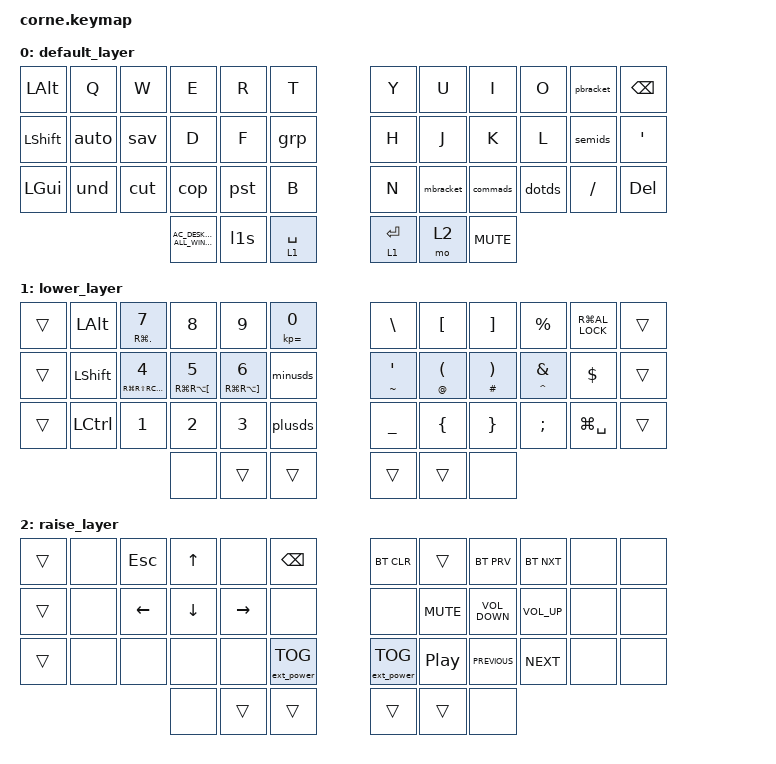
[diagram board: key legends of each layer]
/*
 * Copyright (c) 2020 The ZMK Contributors
 *
 * SPDX-License-Identifier: MIT
 */

#include <behaviors.dtsi>
#include <dt-bindings/zmk/bt.h>
#include <dt-bindings/zmk/ext_power.h>
#include <dt-bindings/zmk/keys.h>

/ {

    behaviors {
        grp: tap_dance_0 {
            compatible = "zmk,behavior-tap-dance";
            #binding-cells = <0>;
            tapping-term-ms = <200>;
            bindings = <&kp G>, <&kp LG(G)>, <&kp LG(LS(G))>;
        };
        sav: tap_dance_1 {
            compatible = "zmk,behavior-tap-dance";
            #binding-cells = <0>;
            tapping-term-ms = <200>;
            bindings = <&kp S>, <&kp LG(S)>;
        };
        auto: tap_dance_mod_tap_0 {
            compatible = "zmk,behavior-tap-dance";
            #binding-cells = <0>;
            tapping-term-ms = <200>;
            bindings = <&mt LSHFT A>, <&kp LS(A)>;
        };
        und: tap_dance_mod_tap_1 {
            compatible = "zmk,behavior-tap-dance";
            #binding-cells = <0>;
            tapping-term-ms = <200>;
            bindings = <&mt LCTRL Z>, <&kp LG(Z)>;
        };
        cut: tap_dance_mod_tap_2 {
            compatible = "zmk,behavior-tap-dance";
            #binding-cells = <0>;
            tapping-term-ms = <200>;
            bindings = <&kp X>, <&kp LG(X)>;
        };
        cop: tap_dance_2 {
            compatible = "zmk,behavior-tap-dance";
            #binding-cells = <0>;
            tapping-term-ms = <200>;
            bindings = <&kp C>, <&kp LG(C)>;
        };
        pst: tap_dance_3 {
            compatible = "zmk,behavior-tap-dance";
            #binding-cells = <0>;
            tapping-term-ms = <200>;
            bindings = <&kp V>, <&kp LG(V)>;
        };
        l1s: tap_dance_mod_tap_3 {
            compatible = "zmk,behavior-tap-dance";
            #binding-cells = <0>;
            tapping-term-ms = <200>;
            bindings = <&mo 2>, <&kp RET>;
        };
        pbracket: tap_dance_4 {
            compatible = "zmk,behavior-tap-dance";
            #binding-cells = <0>;
            tapping-term-ms = <200>;
            bindings = <&kp P>, <&kp LEFT_BRACKET>;
        };
        mbracket: tap_dance_5 {
            compatible = "zmk,behavior-tap-dance";
            #binding-cells = <0>;
            tapping-term-ms = <200>;
            bindings = <&kp M>, <&kp RIGHT_BRACKET>;
        };
        commads: tap_dance_mod_tap_4 {
            compatible = "zmk,behavior-tap-dance";
            #binding-cells = <0>;
            tapping-term-ms = <200>;
            bindings = <&mt QUESTION COMMA>, <&kp KP_COMMA>;
        };
        dotds: tap_dance_mod_tap_5 {
            compatible = "zmk,behavior-tap-dance";
            #binding-cells = <0>;
            tapping-term-ms = <200>;
            bindings = <&mt EXCL DOT>, <&kp KP_DOT>;
        };
        minusds: tap_dance_6 {
            compatible = "zmk,behavior-tap-dance";
            #binding-cells = <0>;
            tapping-term-ms = <200>;
            bindings = <&kp KP_MINUS>, <&kp KP_SLASH>;
        };
        plusds: tap_dance_7 {
            compatible = "zmk,behavior-tap-dance";
            #binding-cells = <0>;
            tapping-term-ms = <200>;
            bindings = <&kp KP_PLUS>, <&kp KP_MULTIPLY>;
        };
        semids: tap_dance_8 {
            compatible = "zmk,behavior-tap-dance";
            #binding-cells = <0>;
            tapping-term-ms = <200>;
            bindings = <&kp SEMI>, <&kp SQT>;
        };
    };
    keymap {
        compatible = "zmk,keymap";

        default_layer {

            bindings = <
&kp LEFT_ALT  &kp Q  &kp W  &kp E  &kp R  &kp T       &kp Y    &kp U  &kp I       &kp O    &pbracket     &kp BSPC
&kp LSHIFT    &auto  &sav   &kp D  &kp F  &grp        &kp H    &kp J  &kp K       &kp L    &semids  &kp SQT
&kp LGUI      &und   &cut   &cop   &pst   &kp B       &kp N    &mbracket  &commads   &dotds  &kp FSLH  &kp DELETE
              &kp C_AC_DESKTOP_SHOW_ALL_WINDOWS  &l1s  &lt 1 SPACE    &lt 1 RET  &mo 2  &kp K_MUTE
            >;
        };

        lower_layer {

            bindings = <
&trans  &kp LALT   &mt RG(PERIOD) NUMBER_7  &kp N8        &kp N9        &mt KP_EQUAL NUMBER_0    &kp BACKSLASH  &kp LEFT_BRACKET      &kp RIGHT_BRACKET      &kp PERCENT    &kp RG(C_AL_LOCK)  &trans
&trans  &kp LSHFT  &mt RG(RS(RC(NUMBER_4))) NUMBER_4  &mt RG(RA(LEFT_BRACKET)) N5 &mt RG(RA(RIGHT_BRACKET)) NUMBER_6  &minusds                 &mt TILDE SQT        &mt AT_SIGN LEFT_PARENTHESIS  &mt HASH RIGHT_PARENTHESIS  &mt CARET AMPERSAND  &kp DOLLAR         &trans
&trans  &kp LCTRL  &kp NUMBER_1  &kp NUMBER_2  &kp NUMBER_3  &plusds                  &kp UNDER      &kp LEFT_BRACE        &kp RIGHT_BRACE        &kp SEMICOLON  &kp LG(SPACE)      &trans
                                 &none        &trans        &trans                   &trans         &trans                &none
            >;
        };

        raise_layer {
            
            bindings = <
&trans  &none  &kp ESCAPE      &kp UP_ARROW    &none           &kp BACKSPACE        &bt BT_CLR         &trans            &bt BT_PRV         &bt BT_NXT       &none  &none
&trans  &none  &kp LEFT_ARROW  &kp DOWN_ARROW  &kp RIGHT_ARROW  &none               &none             &kp K_MUTE        &kp C_VOLUME_DOWN  &kp C_VOLUME_UP  &none  &none
&trans  &none  &none          &none          &none           &ext_power EP_TOG    &ext_power EP_TOG  &kp C_PLAY_PAUSE  &kp C_PREVIOUS     &kp C_NEXT       &none  &none
                                &none          &trans           &trans               &trans             &trans            &none
            >;
        };
    };
};
